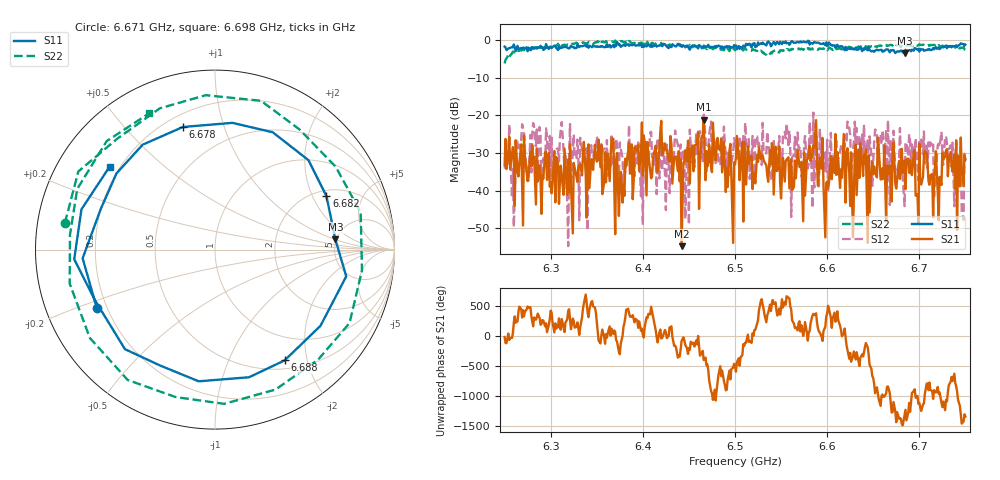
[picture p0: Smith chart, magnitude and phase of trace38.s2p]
# Hz S RI R 50
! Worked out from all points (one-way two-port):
!   401 points, 6.25 GHz to 6.75 GHz, reference 50 ohm
!   highest |S21| = -21.11 dB at 6.466 GHz (marker M1); lowest = -54.8 dB at 6.442 GHz (marker M2)
!   lowest |S11| = -3.4 dB at 6.684 GHz (marker M3), VSWR 5.12, Z = 245 + j51 ohm
!   |S11| at or under -10 dB: nowhere
!   |S22| runs from -6.2 to -0.1 dB; largest |S21 - S12| = 0.15
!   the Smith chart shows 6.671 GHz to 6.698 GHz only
!   S11 on the Smith chart (normalised r, x): 6.671 GHz: 0.16, -0.23; 6.678 GHz: 0.27, +0.74; 6.682 GHz: 2.26, +2.56; 6.688 GHz: 0.62, -1.63; 6.698 GHz: 0.16, +0.34
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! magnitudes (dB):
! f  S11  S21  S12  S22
! 6.25 GHz  -1.7  -33.3  -34.2  -6.2
! 6.26 GHz  -1.1  -31.4  -49.8  -3.0
! 6.266 GHz  -2.3  -32.8  -28.8  -2.6
! 6.282 GHz  -2.3  -30.9  -23.1  -1.8
! 6.318 GHz  -1.9  -41.2  -43.5  -1.2
! 6.334 GHz  -1.6  -36.0  -29.2  -0.7
! 6.376 GHz  -1.7  -35.0  -28.8  -0.2
! 6.418 GHz  -1.4  -28.8  -36.8  -1.0
! 6.442 GHz  -1.7  -54.8  -32.2  -1.3
! 6.466 GHz  -1.4  -21.1  -19.2  -2.1
! 6.5 GHz  -1.6  -33.1  -27.1  -2.7
! 6.584 GHz  -0.9  -30.7  -44.7  -2.2
! 6.599 GHz  -0.6  -38.1  -35.0  -2.2
! 6.609 GHz  -2.0  -25.0  -27.8  -2.0
! 6.668 GHz  -3.2  -33.2  -43.9  -1.3
! 6.671 GHz  -2.7  -29.3  -32.6  -1.4
! 6.678 GHz  -3.0  -32.1  -32.3  -1.2
! 6.682 GHz  -3.2  -35.3  -36.9  -1.6
! 6.684 GHz  -3.4  -32.1  -44.2  -1.4
! 6.688 GHz  -2.7  -31.5  -30.9  -1.3
! 6.698 GHz  -2.5  -41.0  -33.7  -1.5
! 6.75 GHz  -1.2  -31.6  -32.3  -2.5
